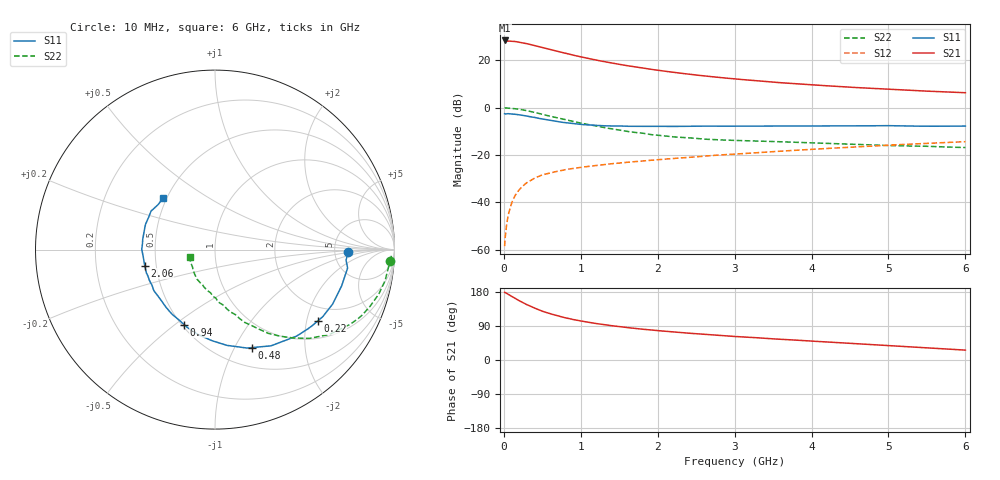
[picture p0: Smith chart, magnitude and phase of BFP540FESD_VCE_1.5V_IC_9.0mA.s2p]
! Infineon Technologies  Discrete & RF Semiconductors
! BFP540FESD
! VCE =  1.5 V,  IC =  9.0 mA
! Common Emitter S-Parameters:  Nov 2015
# GHz  S  MA  R  50
!  f  S11  S21  S12  S22
! GHz  MAG  ANG  MAG  ANG  MAG  ANG  MAG  ANG
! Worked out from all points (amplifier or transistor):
!   210 points, 10 MHz to 6 GHz, reference 50 ohm
!   highest |S21| = 28.3 dB at 10 MHz (marker M1)
!   |S21| within 3 dB of that: start of sweep to 510.8 MHz
!   unconditionally stable (mu >= 1): 2.243 GHz to end of sweep
!   at 185 MHz: K = 0.14, MSG = 31.5 dB, |S12| = -35.3 dB
!   at 1.52 GHz: K = 0.81, MSG = 20.7 dB, |S12| = -23.3 dB
!   at 6 GHz: K = 1.23, MAG = 7.4 dB, |S12| = -14.4 dB
!   S11 on the Smith chart (normalised r, x): 10 MHz: 6.77, -0.35; 220 MHz: 1.51, -2.33; 480 MHz: 0.71, -1.17; 940 MHz: 0.51, -0.54; 2.06 GHz: 0.43, -0.09; 6 GHz: 0.48, +0.33
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0.01  0.7431 -0.9  25.98 178.4  0.0012 88.8  0.9763 -3.8
0.02  0.7325 -4.6  25.12 177.7  0.002 84.7  0.9841 -2.0
0.05  0.746 -7.9  25.32 174.1  0.0047 82.7  0.9728 -5.1
0.15  0.7224 -24.8  24.68 162.3  0.0143 79.0  0.9453 -15.3
0.22  0.6971 -34.8  23.55 154.4  0.0201 74.1  0.9083 -22.0
0.3  0.6629 -46.6  22.27 146.0  0.0262 69.3  0.8598 -29.0
0.4  0.6204 -59.8  20.39 136.8  0.0325 63.9  0.7936 -36.6
0.48  0.5832 -69.4  18.93 130.5  0.037 60.9  0.7357 -41.8
0.6  0.538 -82.8  16.79 122.1  0.0419 57.7  0.6583 -48.4
0.7  0.5072 -92.1  15.3 116.6  0.0455 55.7  0.6046 -53.0
0.8  0.4808 -102.0  13.96 111.3  0.0494 53.1  0.5525 -57.6
0.94  0.4517 -112.5  12.33 105.4  0.0532 51.7  0.4933 -62.1
1.02  0.4389 -118.1  11.54 102.3  0.0555 51.3  0.4643 -64.8
1.2  0.4216 -130.3  10.01 96.2  0.0601 49.9  0.4075 -70.4
1.48  0.41 -145.1  8.26 88.5  0.0671 48.8  0.3408 -78.2
2.02  0.4019 -166.2  6.062 77.1  0.0801 47.8  0.2597 -92.5
2.06  0.4015 -167.1  5.946 76.5  0.0811 47.7  0.2556 -93.2
2.6  0.4082 179.7  4.656 67.8  0.0942 46.9  0.2163 -106.8
3.1  0.4065 170.6  3.896 61.0  0.107 45.7  0.2011 -114.6
4.1  0.4114 158.8  2.945 48.7  0.1347 42.2  0.1783 -129.3
5.1  0.413 147.6  2.395 36.7  0.1642 36.3  0.1571 -144.2
6  0.4077 135.2  2.056 26.1  0.1911 30.3  0.1437 -163.1
